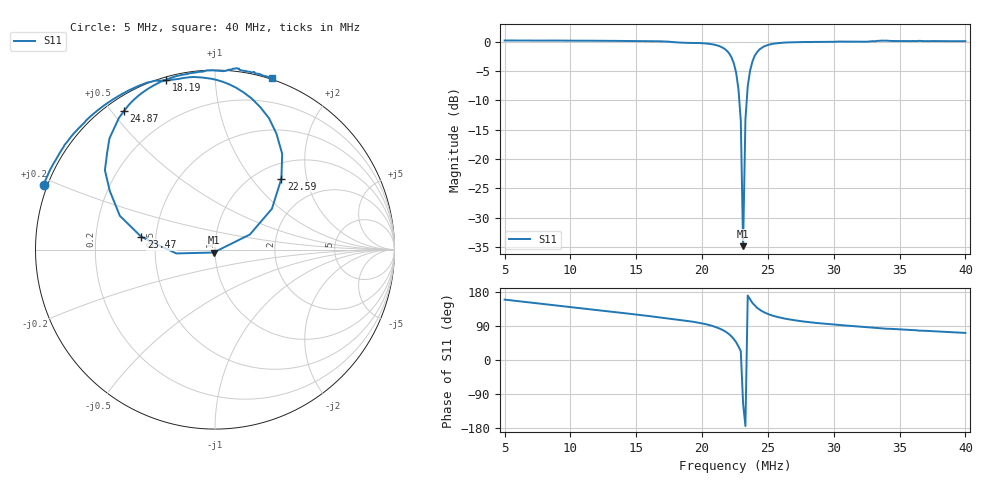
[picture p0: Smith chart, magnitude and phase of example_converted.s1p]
! ListType=Lin
!!Capacitor is 5pF Inductor is 3.3uH NLV32T-3R3J-EF
!Created with skrf (http://scikit-rf.org).
# MHz S RI R 50.0
!freq ReS11 ImS11
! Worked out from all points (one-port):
!   200 points, 5 MHz to 40 MHz, reference 50 ohm
!   lowest |S11| = -34.9 dB at 23.12 MHz (marker M1), VSWR 1.04, Z = 49.2 - j1.61 ohm
!   |S11| at or under -10 dB: 22.82 MHz to 23.39 MHz (568.4 kHz wide, 2.46 % of centre)
!   S11 on the Smith chart (normalised r, x): 5 MHz: -0.01, +0.18; 18.19 MHz: 0.01, +0.75; 22.59 MHz: 1.28, +1.43; 23.47 MHz: 0.41, +0.07; 24.87 MHz: 0.05, +0.54; 40 MHz: -0.01, +1.39
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5  -0.9551 0.3592
9.396985  -0.8013 0.6298
13.79397  -0.5773 0.8313
16.78392  -0.3813 0.9293
18.19095  -0.2723 0.9438
20.12563  -0.0966 0.9604
20.82915  0.0103 0.945
21.35678  0.1179 0.9017
21.70854  0.2044 0.8418
22.0603  0.3006 0.7326
22.41206  0.3744 0.5335
22.58794  0.3699 0.3954
22.76382  0.3173 0.2278
22.9397  0.1945 0.0843
23.11558  -0.00775 -0.0163
23.29146  -0.2157 -0.0214
23.46734  -0.4107 0.0712
23.64322  -0.5304 0.1885
23.99497  -0.6133 0.4425
24.34673  -0.588 0.6198
24.87437  -0.5075 0.7715
25.75377  -0.3832 0.8893
26.98492  -0.2571 0.9514
28.56784  -0.1405 0.9825
31.38191  0.00472 0.9976
33.66834  0.1202 1.011
35.77889  0.1852 0.9909
40  0.3194 0.9545
